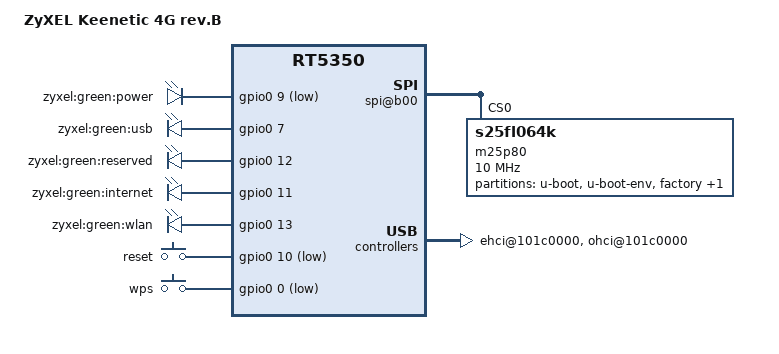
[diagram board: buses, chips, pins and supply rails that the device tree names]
/dts-v1/;

/include/ "rt5350.dtsi"

/ {
	compatible = "NBG4114", "ralink,rt5350-soc";
	model = "ZyXEL Keenetic 4G rev.B";

	palmbus@10000000 {
		spi@b00 {
			status = "okay";
			m25p80@0 {
				#address-cells = <1>;
				#size-cells = <1>;
				compatible = "s25fl064k";
				reg = <0 0>;
				linux,modalias = "m25p80", "s25fl064k";
				spi-max-frequency = <10000000>;

				partition@0 {
					label = "u-boot";
					reg = <0x0 0x30000>;
					read-only;
				};

				partition@30000 {
					label = "u-boot-env";
					reg = <0x30000 0x10000>;
					read-only;
				};

				factory: partition@40000 {
					label = "factory";
						reg = <0x40000 0x10000>;
					read-only;
				};

				partition@50000 {
					label = "firmware";
					reg = <0x50000 0x7b0000>;
				};

			};
		};
	};

	pinctrl {
		state_default: pinctrl0 {
			gpio {
				ralink,group = "i2c", "jtag", "uartf";
				ralink,function = "gpio";
			};
		};
	};

	ethernet@10100000 {
		mtd-mac-address = <&factory 0x28>;
	};

	esw@10110000 {
		ralink,portmap = <0x2f>;
		ralink,led_polarity = <0x17>;
	};

	wmac@10180000 {
		ralink,mtd-eeprom = <&factory 0>;
	};

	gpio-leds {
		compatible = "gpio-leds";
		power {
			label = "zyxel:green:power";
			gpios = <&gpio0 9 1>;
		};
		usb {
			label = "zyxel:green:usb";
			gpios = <&gpio0 7 0>;
		};
		reserved {
			label = "zyxel:green:reserved";
			gpios = <&gpio0 12 0>;
		};
		internet {
			label = "zyxel:green:internet";
			gpios = <&gpio0 11 0>;
		};
		wlan {
			label = "zyxel:green:wlan";
			gpios = <&gpio0 13 0>;
		};
	};


	gpio-keys-polled {
	compatible = "gpio-keys-polled";
	#address-cells = <1>;
	#size-cells = <0>;
	poll-interval = <20>;
		reset {
			label = "reset";
			gpios = <&gpio0 10 1>;
			linux,code = <0x198>;
		};
		wps {
			label = "wps";
			gpios = <&gpio0 0 1>;
			linux,code = <0x211>;
		};
	};

	ehci@101c0000 {
		status = "okay";
	};

	ohci@101c0000 {
		status = "okay";
	};

};
